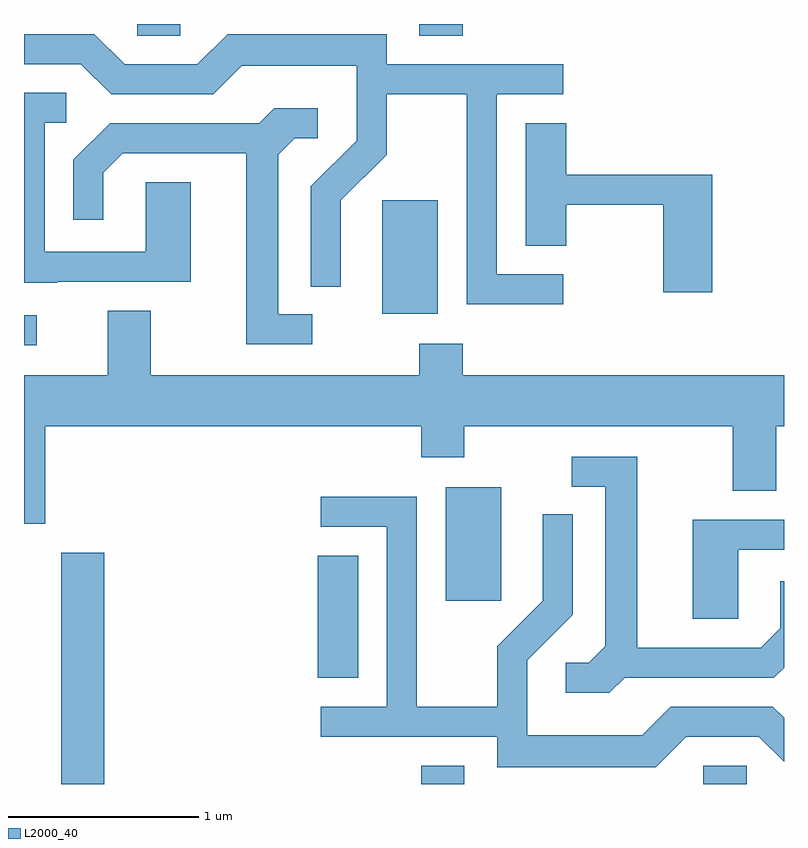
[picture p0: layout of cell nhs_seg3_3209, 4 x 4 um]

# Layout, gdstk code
import gdstk
lib = gdstk.Library(unit=1e-6, precision=1e-09)
def R(c, l, rs):  # rectangles x0, y0, x1, y1
    for r in rs: c.add(gdstk.rectangle(r[:2], r[2:], *l))
def P(c, l, *ps):  # polygons
    for p in ps: c.add(gdstk.Polygon(p, *l))
L2000_40 = (2000, 40)

nhs_seg3_3209 = lib.new_cell('nhs_seg3_3209')
R(nhs_seg3_3209, L2000_40, [(279.806,1141.892,280.034,1143.109), (281.701,1141.892,281.929,1141.989), (283.186,1141.892,283.414,1141.989), (281.156,1142.451,281.369,1143.094), (281.831,1142.856,282.124,1143.454), (279.611,1144.201,279.678,1144.359), (281.496,1144.366,281.789,1144.964), (280.206,1145.831,280.434,1145.892), (281.691,1145.831,281.919,1145.892)])
P(nhs_seg3_3209, L2000_40, [(282.448,1144.574),(282.099,1144.574),(282.099,1145.521),(282.448,1145.521),(282.448,1145.679),(281.519,1145.679),(281.519,1145.839),(280.684,1145.839),(280.524,1145.679),(280.142,1145.679),(279.982,1145.839),(279.611,1145.839),(279.611,1145.681),(279.909,1145.681),(280.069,1145.521),(280.607,1145.521),(280.757,1145.671),(281.361,1145.671),(281.361,1145.277),(281.121,1145.037),(281.121,1144.508),(281.279,1144.508),(281.279,1144.964),(281.519,1145.204),(281.519,1145.521),(281.941,1145.521),(281.941,1144.416),(282.448,1144.416)],
  [(279.785,1144.536),(280.489,1144.536),(280.489,1145.059),(280.251,1145.059),(280.251,1144.694),(279.719,1144.694),(279.719,1145.371),(279.833,1145.371),(279.833,1145.529),(279.611,1145.529),(279.611,1144.531),(279.785,1144.531)],
  [(281.128,1144.364),(280.949,1144.364),(280.949,1145.204),(281.037,1145.291),(281.158,1145.291),(281.158,1145.449),(280.929,1145.449),(280.849,1145.369),(280.064,1145.369),(279.871,1145.177),(279.871,1144.863),(280.029,1144.863),(280.029,1145.109),(280.132,1145.211),(280.781,1145.211),(280.781,1144.206),(281.128,1144.206)],
  [(283.234,1145.099),(282.464,1145.099),(282.464,1145.369),(282.251,1145.369),(282.251,1144.726),(282.464,1144.726),(282.464,1144.941),(282.976,1144.941),(282.976,1144.481),(283.234,1144.481)],
  [(279.724,1143.776),(281.701,1143.776),(281.701,1143.611),(281.929,1143.611),(281.929,1143.776),(283.341,1143.776),(283.341,1143.436),(283.569,1143.436),(283.569,1143.776),(283.611,1143.776),(283.611,1144.044),(281.919,1144.044),(281.919,1144.209),(281.691,1144.209),(281.691,1144.044),(280.279,1144.044),(280.279,1144.384),(280.051,1144.384),(280.051,1144.044),(279.611,1144.044),(279.611,1143.261),(279.724,1143.261)],
  [(282.772,1142.451),(283.557,1142.451),(283.611,1142.505),(283.611,1142.958),(283.591,1142.958),(283.591,1142.712),(283.489,1142.609),(282.839,1142.609),(282.839,1143.614),(282.493,1143.614),(282.493,1143.456),(282.671,1143.456),(282.671,1142.617),(282.584,1142.529),(282.463,1142.529),(282.463,1142.371),(282.692,1142.371)],
  [(283.097,1142.141),(283.479,1142.141),(283.611,1142.009),(283.611,1142.24),(283.552,1142.299),(283.014,1142.299),(282.864,1142.149),(282.259,1142.149),(282.259,1142.544),(282.499,1142.784),(282.499,1143.313),(282.341,1143.313),(282.341,1142.857),(282.101,1142.617),(282.101,1142.299),(281.679,1142.299),(281.679,1143.404),(281.173,1143.404),(281.173,1143.246),(281.521,1143.246),(281.521,1142.299),(281.173,1142.299),(281.173,1142.141),(282.101,1142.141),(282.101,1141.981),(282.937,1141.981)],
  [(283.369,1143.126),(283.611,1143.126),(283.611,1143.284),(283.131,1143.284),(283.131,1142.761),(283.369,1142.761)])

lib.write_gds('nhs_seg3_3209.gds')
